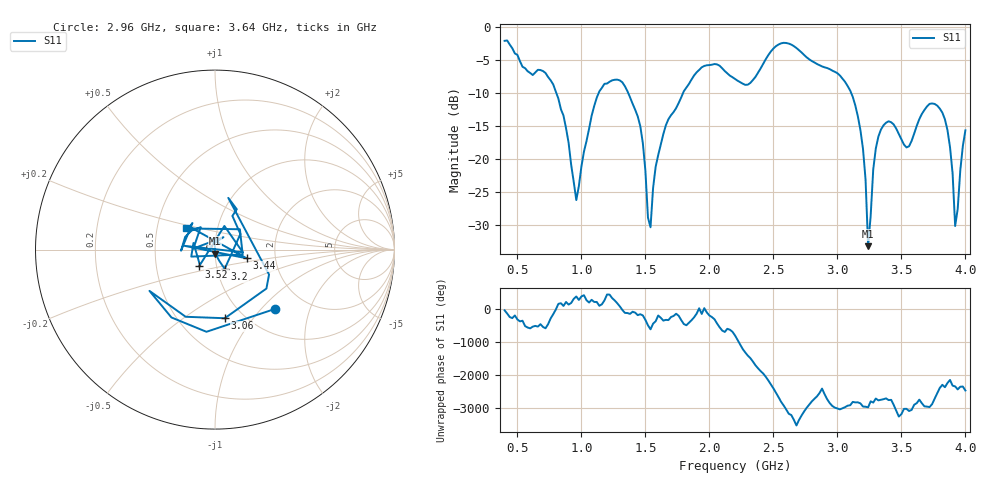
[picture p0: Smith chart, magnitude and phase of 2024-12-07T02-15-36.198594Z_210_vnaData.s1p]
!Created with skrf (http://scikit-rf.org).
# Hz S RI R 50.0
!freq ReS11 ImS11
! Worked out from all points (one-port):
!   181 points, 400 MHz to 4 GHz, reference 50 ohm
!   lowest |S11| = -33.2 dB at 3.24 GHz (marker M1), VSWR 1.04, Z = 50.1 - j2.19 ohm
!   |S11| at or under -10 dB: 804.8 MHz to 1.134 GHz (329.1 MHz wide, 34 % of centre); 1.367 GHz to 1.793 GHz (426.4 MHz wide, 27 % of centre); 3.109 GHz to end of sweep
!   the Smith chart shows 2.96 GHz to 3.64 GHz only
!   S11 on the Smith chart (normalised r, x): 2.96 GHz: 1.41, -1.20; 3.06 GHz: 0.82, -0.74; 3.2 GHz: 1.09, -0.24; 3.44 GHz: 1.42, -0.14; 3.52 GHz: 0.82, -0.16; 3.64 GHz: 0.70, +0.17
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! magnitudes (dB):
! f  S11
! 400 MHz  -2.0
! 720 MHz  -6.9
! 860 MHz  -13.4
! 960 MHz  -26.2
! 1.12 GHz  -10.7
! 1.3 GHz  -8.0
! 1.46 GHz  -15.0
! 1.54 GHz  -30.3
! 1.6 GHz  -19.4
! 1.76 GHz  -11.5
! 1.96 GHz  -5.8
! 2.2 GHz  -7.8
! 2.66 GHz  -2.8
! 2.96 GHz  -6.6
! 3.06 GHz  -8.3
! 3.1 GHz  -9.6
! 3.2 GHz  -18.4
! 3.22 GHz  -23.1
! 3.24 GHz  -33.2
! 3.3 GHz  -18.4
! 3.44 GHz  -14.7
! 3.52 GHz  -17.8
! 3.56 GHz  -18.0
! 3.64 GHz  -13.9
! 3.84 GHz  -13.9
! 3.9 GHz  -22.1
! 3.92 GHz  -30.1
! 4 GHz  -15.6
